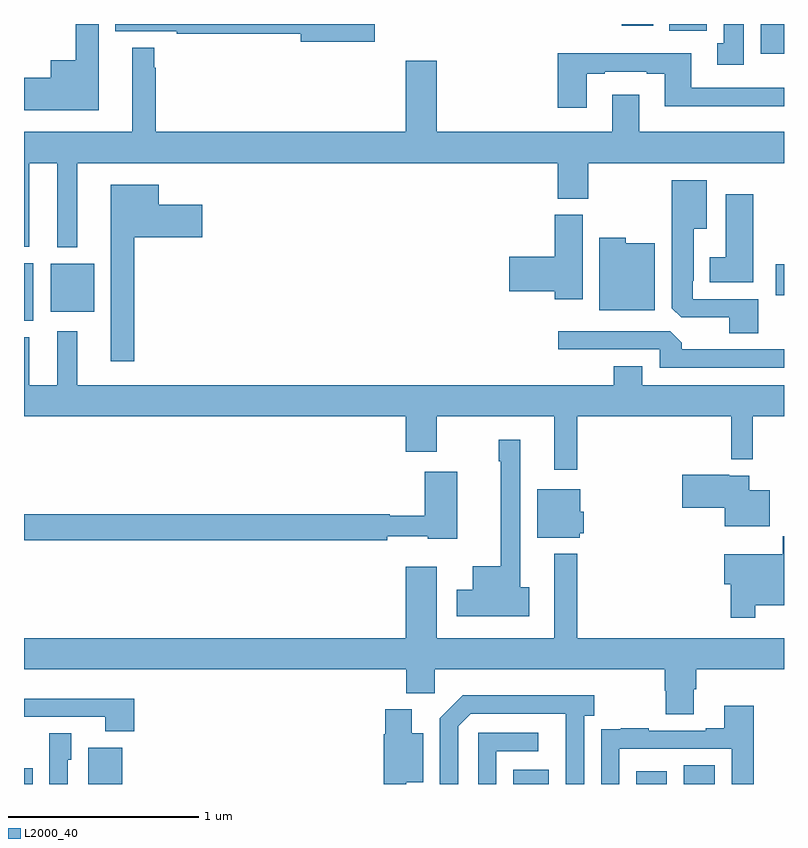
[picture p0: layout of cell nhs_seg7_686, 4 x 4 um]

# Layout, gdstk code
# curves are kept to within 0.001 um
import gdstk
lib = gdstk.Library(unit=1e-6, precision=1e-09)
def R(c, l, rs):  # rectangles x0, y0, x1, y1
    for r in rs: c.add(gdstk.rectangle(r[:2], r[2:], *l))
def P(c, l, *ps):  # polygons
    for p in ps: c.add(gdstk.Polygon(p, *l))
L2000_40 = (2000, 40)

nhs_seg7_686 = lib.new_cell('nhs_seg7_686')
R(nhs_seg7_686, L2000_40, [(163,1012,163.045,1012.084), (163.337,1012,163.516,1012.192), (165.575,1012,165.763,1012.075), (166.223,1012,166.384,1012.066), (166.472,1012,166.636,1012.1), (163,1014.437,163.048,1014.742), (163.142,1014.485,163.369,1014.739), (166.956,1014.572,167,1014.735), (166.877,1015.844,167,1016), (166.397,1015.964,166.594,1016), (166.145,1015.992,166.312,1016)])
P(nhs_seg7_686, L2000_40, [(164.845,1016),(163.481,1016),(163.481,1015.961),(163.804,1015.961),(163.804,1015.948),(164.456,1015.948),(164.456,1015.906),(164.845,1015.906)],
  [(163.393,1016),(163.272,1016),(163.272,1015.81),(163.142,1015.81),(163.142,1015.718),(163,1015.718),(163,1015.547),(163.393,1015.547)],
  [(166.789,1016),(166.682,1016),(166.682,1015.898),(166.649,1015.898),(166.649,1015.785),(166.789,1015.785)],
  [(163.279,1015.268),(165.809,1015.268),(165.809,1015.081),(165.969,1015.081),(165.969,1015.268),(167,1015.268),(167,1015.432),(166.237,1015.432),(166.237,1015.627),(166.097,1015.627),(166.097,1015.432),(165.172,1015.432),(165.172,1015.807),(165.008,1015.807),(165.008,1015.432),(163.693,1015.432),(163.693,1015.769),(163.686,1015.769),(163.686,1015.876),(163.571,1015.876),(163.571,1015.432),(163,1015.432),(163,1014.827),(163.027,1014.827),(163.027,1015.268),(163.175,1015.268),(163.175,1014.824),(163.279,1014.824)],
  [(165.961,1015.737),(166.057,1015.737),(166.057,1015.749),(166.277,1015.749),(166.277,1015.737),(166.373,1015.737),(166.373,1015.568),(167,1015.568),(167,1015.665),(166.513,1015.665),(166.513,1015.846),(165.809,1015.846),(165.809,1015.56),(165.961,1015.56)],
  [(166.865,1014.552),(166.521,1014.552),(166.521,1014.649),(166.525,1014.649),(166.525,1014.923),(166.594,1014.923),(166.594,1015.177),(166.409,1015.177),(166.409,1014.505),(166.458,1014.456),(166.712,1014.456),(166.712,1014.373),(166.865,1014.373)],
  [(163.579,1014.878),(163.939,1014.878),(163.939,1015.048),(163.708,1015.048),(163.708,1015.153),(163.457,1015.153),(163.457,1014.225),(163.579,1014.225)],
  [(166.837,1015.105),(166.694,1015.105),(166.694,1014.772),(166.61,1014.772),(166.61,1014.641),(166.837,1014.641)],
  [(165.94,1014.996),(165.794,1014.996),(165.794,1014.776),(165.555,1014.776),(165.555,1014.593),(165.794,1014.593),(165.794,1014.552),(165.94,1014.552)],
  [(166.321,1014.847),(166.167,1014.847),(166.167,1014.874),(166.028,1014.874),(166.028,1014.494),(166.321,1014.494)],
  [(167,1014.288),(166.463,1014.288),(166.463,1014.322),(166.401,1014.384),(165.813,1014.384),(165.813,1014.288),(166.347,1014.288),(166.347,1014.192),(167,1014.192)],
  [(165.913,1013.936),(166.722,1013.936),(166.722,1013.708),(166.835,1013.708),(166.835,1013.936),(167,1013.936),(167,1014.1),(166.255,1014.1),(166.255,1014.199),(166.103,1014.199),(166.103,1014.1),(163.279,1014.1),(163.279,1014.382),(163.175,1014.382),(163.175,1014.1),(163.027,1014.1),(163.027,1014.352),(163,1014.352),(163,1013.936),(165.008,1013.936),(165.008,1013.748),(165.172,1013.748),(165.172,1013.936),(165.791,1013.936),(165.791,1013.655),(165.913,1013.655)],
  [(165.658,1013.036),(165.613,1013.036),(165.613,1013.812),(165.499,1013.812),(165.499,1013.699),(165.509,1013.699),(165.509,1013.146),(165.362,1013.146),(165.362,1013.023),(165.278,1013.023),(165.278,1012.883),(165.658,1012.883)],
  [(164.912,1013.303),(165.126,1013.303),(165.126,1013.291),(165.28,1013.291),(165.28,1013.644),(165.11,1013.644),(165.11,1013.413),(164.926,1013.413),(164.926,1013.42),(163,1013.42),(163,1013.284),(164.912,1013.284)],
  [(166.924,1013.545),(166.816,1013.545),(166.816,1013.623),(166.712,1013.623),(166.712,1013.628),(166.464,1013.628),(166.464,1013.453),(166.688,1013.453),(166.688,1013.357),(166.924,1013.357)],
  [(165.924,1013.319),(165.946,1013.319),(165.946,1013.433),(165.928,1013.433),(165.928,1013.551),(165.701,1013.551),(165.701,1013.297),(165.924,1013.297)],
  [(166.849,1012.94),(167,1012.94),(167,1013.305),(166.993,1013.305),(166.993,1013.209),(166.686,1013.209),(166.686,1013.051),(166.72,1013.051),(166.72,1012.875),(166.849,1012.875)],
  [(166.525,1012.498),(166.538,1012.498),(166.538,1012.604),(167,1012.604),(167,1012.768),(165.913,1012.768),(165.913,1013.212),(165.791,1013.212),(165.791,1012.768),(165.172,1012.768),(165.172,1013.143),(165.008,1013.143),(165.008,1012.768),(163,1012.768),(163,1012.604),(165.011,1012.604),(165.011,1012.478),(165.162,1012.478),(165.162,1012.604),(166.373,1012.604),(166.373,1012.491),(166.378,1012.491),(166.378,1012.366),(166.525,1012.366)],
  [(165.285,1012.305),(165.351,1012.371),(165.851,1012.371),(165.852,1012),(165.948,1012),(165.948,1012.358),(166,1012.358),(166,1012.468),(165.31,1012.468),(165.189,1012.347),(165.189,1012),(165.285,1012)],
  [(163.58,1012.45),(163,1012.45),(163,1012.353),(163.427,1012.353),(163.427,1012.277),(163.58,1012.277)],
  [(166.134,1012.185),(166.725,1012.185),(166.725,1012),(166.841,1012),(166.841,1012.411),(166.685,1012.411),(166.685,1012.294),(166.589,1012.294),(166.589,1012.281),(166.289,1012.281),(166.289,1012.294),(166.141,1012.294),(166.141,1012.287),(166.039,1012.287),(166.039,1012.178),(166.038,1012.178),(166.038,1012),(166.134,1012)],
  [(165.011,1012.01),(165.1,1012.01),(165.1,1012.267),(165.04,1012.267),(165.04,1012.393),(164.9,1012.393),(164.9,1012.263),(164.893,1012.263),(164.893,1012),(165.011,1012)],
  [(165.486,1012.173),(165.706,1012.173),(165.706,1012.269),(165.39,1012.269),(165.39,1012),(165.486,1012)],
  [(163.23,1012.128),(163.249,1012.128),(163.249,1012.268),(163.134,1012.268),(163.134,1012),(163.23,1012)])

lib.write_gds('nhs_seg7_686.gds')
